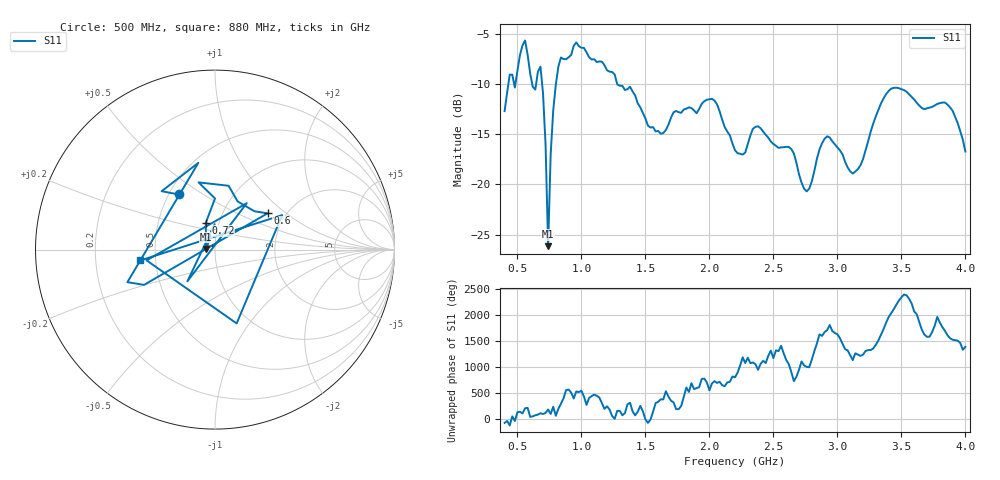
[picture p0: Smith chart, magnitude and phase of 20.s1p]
!Created with skrf (http://scikit-rf.org).
# Hz S RI R 50.0
!freq ReS11 ImS11
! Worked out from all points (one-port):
!   181 points, 400 MHz to 4 GHz, reference 50 ohm
!   lowest |S11| = -26.1 dB at 740 MHz (marker M1), VSWR 1.10, Z = 45.3 + j0.295 ohm
!   |S11| at or under -10 dB: start of sweep to 429.4 MHz; 693.1 MHz to 800.9 MHz (107.8 MHz wide, 14.4 % of centre); 1.279 GHz to end of sweep (the widest 3 of 5)
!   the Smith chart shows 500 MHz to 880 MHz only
!   S11 on the Smith chart (normalised r, x): 500 MHz: 0.56, +0.40; 600 MHz: 1.61, +0.75; 720 MHz: 0.86, +0.26; 880 MHz: 0.41, -0.06
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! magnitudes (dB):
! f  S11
! 400 MHz  -12.7
! 440 MHz  -9.1
! 500 MHz  -8.7
! 560 MHz  -5.7
! 600 MHz  -9.0
! 640 MHz  -10.6
! 680 MHz  -8.3
! 720 MHz  -16.1
! 740 MHz  -26.1
! 760 MHz  -17.0
! 780 MHz  -12.6
! 860 MHz  -7.5
! 880 MHz  -7.5
! 960 MHz  -5.9
! 1.3 GHz  -10.2
! 1.62 GHz  -15.0
! 1.76 GHz  -12.8
! 2.02 GHz  -11.5
! 2.2 GHz  -16.6
! 2.38 GHz  -14.2
! 2.66 GHz  -16.9
! 2.76 GHz  -20.7
! 2.92 GHz  -15.2
! 3.1 GHz  -18.7
! 3.38 GHz  -11.0
! 3.56 GHz  -11.0
! 3.86 GHz  -12.1
! 4 GHz  -16.7
